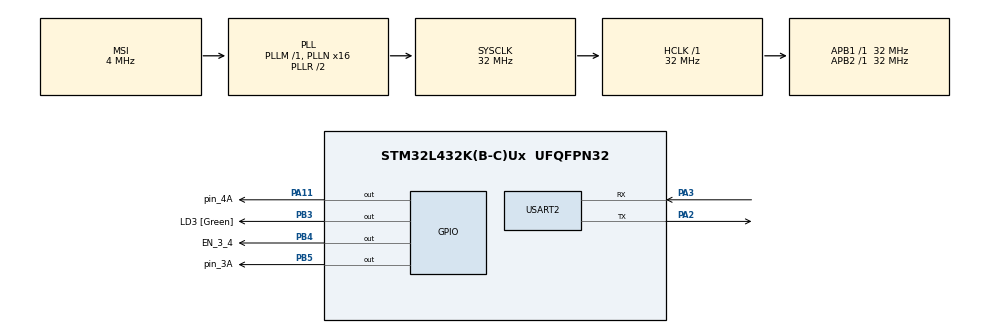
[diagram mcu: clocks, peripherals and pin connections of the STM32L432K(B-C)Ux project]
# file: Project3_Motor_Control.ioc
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Mcu.Family=STM32L4
Mcu.Name=STM32L432K(B-C)Ux
Mcu.Package=UFQFPN32
NVIC.PriorityGroup=NVIC_PRIORITYGROUP_4
PA11.GPIO_Label=pin_4A
PA11.Signal=GPIO_Output
PA2.Mode=Asynchronous
PA2.Signal=USART2_TX
PA3.Mode=Asynchronous
PA3.Signal=USART2_RX
PB3\ (JTDO-TRACESWO).GPIO_Label=LD3 [Green]
PB3\ (JTDO-TRACESWO).Signal=GPIO_Output
PB4\ (NJTRST).GPIO_Label=EN_3_4
PB4\ (NJTRST).Signal=GPIO_Output
PB5.GPIO_Label=pin_3A
PB5.Signal=GPIO_Output
ProjectManager.HeapSize=0x200
ProjectManager.StackSize=0x400
ProjectManager.TargetToolchain=STM32CubeIDE
RCC.AHBFreq_Value=32000000
RCC.APB1Freq_Value=32000000
RCC.APB1TimFreq_Value=32000000
RCC.APB2Freq_Value=32000000
RCC.APB2TimFreq_Value=32000000
RCC.CortexFreq_Value=32000000
RCC.HCLKFreq_Value=32000000
RCC.HSE_VALUE=8000000
RCC.HSI16_VALUE=16000000
RCC.HSI48_VALUE=48000000
RCC.HSI_VALUE=16000000
RCC.LSE_VALUE=32768
RCC.MSI_VALUE=4000000
RCC.PLLMUL=RCC_PLLMUL_4
RCC.PLLN=16
RCC.SYSCLKFreq_VALUE=32000000
RCC.SYSCLKSource=RCC_SYSCLKSOURCE_PLLCLK
RCC.VCOOutputFreq_Value=64000000
USART2.VirtualMode-Asynchronous=VM_ASYNC
board=NUCLEO-L432KC

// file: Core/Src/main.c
/* USER CODE BEGIN Header */
/**
  ******************************************************************************
  * @file           : main.c
  * @brief          : Main program body
  ******************************************************************************
  * @attention
  *
  * Copyright (c) 2026 STMicroelectronics.
  * All rights reserved.
  *
  * This software is licensed under terms that can be found in the LICENSE file
  * in the root directory of this software component.
  * If no LICENSE file comes with this software, it is provided AS-IS.
  *
  ******************************************************************************
  */
/* USER CODE END Header */
#include "main.h"

/* USER CODE BEGIN Includes */
#include <string.h>
/* USER CODE END Includes */

UART_HandleTypeDef huart2;

void SystemClock_Config(void);
static void MX_GPIO_Init(void);
static void MX_USART2_UART_Init(void);

int main(void)
{

  /* MCU Configuration--------------------------------------------------------*/

  /* Reset of all peripherals, Initializes the Flash interface and the Systick. */
  HAL_Init();

  /* Configure the system clock */
  SystemClock_Config();

  /* Initialize all configured peripherals */
  MX_GPIO_Init();
  MX_USART2_UART_Init();

  /* Infinite loop */
  while (1)
  {

    /* USER CODE BEGIN 3 */
//	  HAL_GPIO_TogglePin (LD3_GPIO_Port, LD3_Pin);
	  HAL_GPIO_WritePin(LD3_GPIO_Port, LD3_Pin, GPIO_PIN_SET);
	  HAL_Delay (1000);   /* Insert delay 100 ms */
	  HAL_GPIO_WritePin(LD3_GPIO_Port, LD3_Pin, GPIO_PIN_RESET);
	  HAL_Delay (500);   /* Insert delay 100 ms */

	  uint8_t *Test = (uint8_t*) "Motor ON CW\r\n"; //Data to send
	  HAL_UART_Transmit(&huart2, Test, strlen((char*)Test), 10);// Sending in normal mode
	  HAL_GPIO_WritePin(GPIOB, EN_3_4_Pin, GPIO_PIN_SET);
	  HAL_GPIO_WritePin(pin_4A_GPIO_Port, pin_4A_Pin, GPIO_PIN_SET);
	  HAL_GPIO_WritePin(pin_3A_GPIO_Port, pin_3A_Pin, GPIO_PIN_RESET);

	  HAL_Delay(2000);

	  Test = (uint8_t*)"Motor will now turn OFF\r\n"; //Data to send
	  HAL_UART_Transmit(&huart2,Test,strlen((char*)Test),10);// Sending in normal mode
	  HAL_Delay(1000);

	  Test = (uint8_t*) "Motor OFF\r\n"; //Data to send
	  HAL_UART_Transmit(&huart2,Test,strlen((char*)Test),10);// Sending in normal mode
	  HAL_GPIO_WritePin(GPIOB, EN_3_4_Pin, GPIO_PIN_SET);
	  HAL_GPIO_WritePin(pin_4A_GPIO_Port, pin_4A_Pin, GPIO_PIN_RESET);
	  HAL_GPIO_WritePin(pin_3A_GPIO_Port, pin_3A_Pin, GPIO_PIN_RESET);

	  HAL_Delay(2000);

	  Test = (uint8_t*) "Motor ON CCW\r\n"; //Data to send
	  HAL_UART_Transmit(&huart2,Test,strlen((char*)Test),10);// Sending in normal mode
	  HAL_GPIO_WritePin(GPIOB, EN_3_4_Pin, GPIO_PIN_SET);
	  HAL_GPIO_WritePin(pin_4A_GPIO_Port, pin_4A_Pin, GPIO_PIN_RESET);
	  HAL_GPIO_WritePin(pin_3A_GPIO_Port, pin_3A_Pin, GPIO_PIN_SET);

	  HAL_Delay(2000);

	  Test = (uint8_t*) "Motor will now turn OFF\r\n"; //Data to send
	  HAL_UART_Transmit(&huart2,Test,strlen((char*)Test),10);// Sending in normal mode
	  HAL_Delay(1000);

	  Test = (uint8_t*) "Motor OFF by disabling EN\r\n"; //Data to send
	  HAL_UART_Transmit(&huart2, Test, strlen((char*)Test), 10);// Sending in normal mode
	  HAL_GPIO_WritePin(GPIOB, EN_3_4_Pin, GPIO_PIN_RESET);
	  HAL_Delay(2000);

	  HAL_UART_Transmit(&huart2,
	                    (uint8_t*)"\033[2J\033[H",
	                    strlen("\033[2J\033[H"),
	                    10);

  }
  /* USER CODE END 3 */
}

void SystemClock_Config(void)
{
  RCC_OscInitTypeDef RCC_OscInitStruct = {0};
  RCC_ClkInitTypeDef RCC_ClkInitStruct = {0};

  /** Configure the main internal regulator output voltage
  */
  if (HAL_PWREx_ControlVoltageScaling(PWR_REGULATOR_VOLTAGE_SCALE1) != HAL_OK)
  {
    Error_Handler();
  }

  /** Initializes the RCC Oscillators according to the specified parameters
  * in the RCC_OscInitTypeDef structure.
  */
  RCC_OscInitStruct.OscillatorType = RCC_OSCILLATORTYPE_MSI;
  RCC_OscInitStruct.MSIState = RCC_MSI_ON;
  RCC_OscInitStruct.MSICalibrationValue = 0;
  RCC_OscInitStruct.MSIClockRange = RCC_MSIRANGE_6;
  RCC_OscInitStruct.PLL.PLLState = RCC_PLL_ON;
  RCC_OscInitStruct.PLL.PLLSource = RCC_PLLSOURCE_MSI;
  RCC_OscInitStruct.PLL.PLLM = 1;
  RCC_OscInitStruct.PLL.PLLN = 16;
  RCC_OscInitStruct.PLL.PLLP = RCC_PLLP_DIV7;
  RCC_OscInitStruct.PLL.PLLQ = RCC_PLLQ_DIV2;
  RCC_OscInitStruct.PLL.PLLR = RCC_PLLR_DIV2;
  if (HAL_RCC_OscConfig(&RCC_OscInitStruct) != HAL_OK)
  {
    Error_Handler();
  }

  /** Initializes the CPU, AHB and APB buses clocks
  */
  RCC_ClkInitStruct.ClockType = RCC_CLOCKTYPE_HCLK|RCC_CLOCKTYPE_SYSCLK
                              |RCC_CLOCKTYPE_PCLK1|RCC_CLOCKTYPE_PCLK2;
  RCC_ClkInitStruct.SYSCLKSource = RCC_SYSCLKSOURCE_PLLCLK;
  RCC_ClkInitStruct.AHBCLKDivider = RCC_SYSCLK_DIV1;
  RCC_ClkInitStruct.APB1CLKDivider = RCC_HCLK_DIV1;
  RCC_ClkInitStruct.APB2CLKDivider = RCC_HCLK_DIV1;

  if (HAL_RCC_ClockConfig(&RCC_ClkInitStruct, FLASH_LATENCY_1) != HAL_OK)
  {
    Error_Handler();
  }
}

static void MX_USART2_UART_Init(void)
{

  huart2.Instance = USART2;
  huart2.Init.BaudRate = 115200;
  huart2.Init.WordLength = UART_WORDLENGTH_8B;
  huart2.Init.StopBits = UART_STOPBITS_1;
  huart2.Init.Parity = UART_PARITY_NONE;
  huart2.Init.Mode = UART_MODE_TX_RX;
  huart2.Init.HwFlowCtl = UART_HWCONTROL_NONE;
  huart2.Init.OverSampling = UART_OVERSAMPLING_16;
  huart2.Init.OneBitSampling = UART_ONE_BIT_SAMPLE_DISABLE;
  huart2.AdvancedInit.AdvFeatureInit = UART_ADVFEATURE_NO_INIT;
  if (HAL_UART_Init(&huart2) != HAL_OK)
  {
    Error_Handler();
  }

}

static void MX_GPIO_Init(void)
{
  GPIO_InitTypeDef GPIO_InitStruct = {0};

  /* GPIO Ports Clock Enable */
  __HAL_RCC_GPIOA_CLK_ENABLE();
  __HAL_RCC_GPIOB_CLK_ENABLE();

  /*Configure GPIO pin Output Level */
  HAL_GPIO_WritePin(pin_4A_GPIO_Port, pin_4A_Pin, GPIO_PIN_RESET);

  /*Configure GPIO pin Output Level */
  HAL_GPIO_WritePin(GPIOB, LD3_Pin|EN_3_4_Pin|pin_3A_Pin, GPIO_PIN_RESET);

  /*Configure GPIO pin : pin_4A_Pin */
  GPIO_InitStruct.Pin = pin_4A_Pin;
  GPIO_InitStruct.Mode = GPIO_MODE_OUTPUT_PP;
  GPIO_InitStruct.Pull = GPIO_NOPULL;
  GPIO_InitStruct.Speed = GPIO_SPEED_FREQ_LOW;
  HAL_GPIO_Init(pin_4A_GPIO_Port, &GPIO_InitStruct);

  /*Configure GPIO pins : LD3_Pin EN_3_4_Pin pin_3A_Pin */
  GPIO_InitStruct.Pin = LD3_Pin|EN_3_4_Pin|pin_3A_Pin;
  GPIO_InitStruct.Mode = GPIO_MODE_OUTPUT_PP;
  GPIO_InitStruct.Pull = GPIO_NOPULL;
  GPIO_InitStruct.Speed = GPIO_SPEED_FREQ_LOW;
  HAL_GPIO_Init(GPIOB, &GPIO_InitStruct);

}

void Error_Handler(void)
{
  __disable_irq();
  while (1)
  {
  }
}
